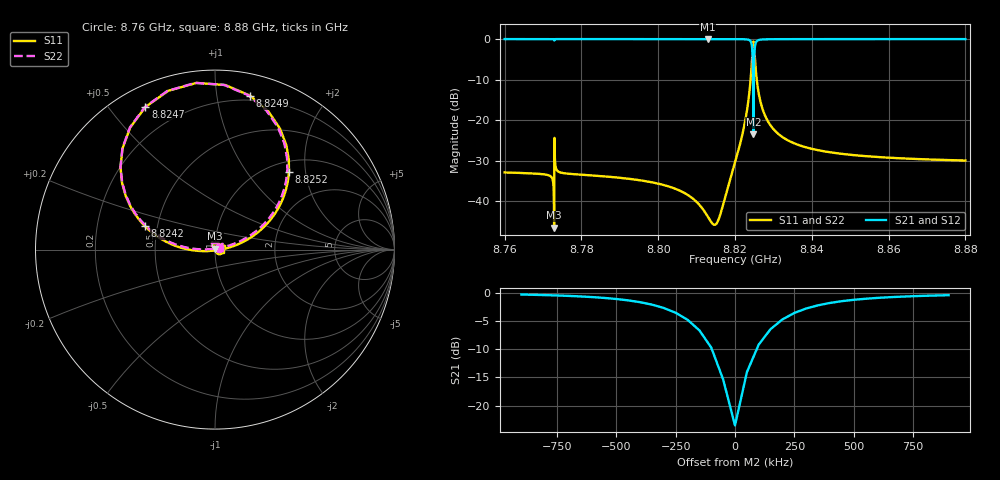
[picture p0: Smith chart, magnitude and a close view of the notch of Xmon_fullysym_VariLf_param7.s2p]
! Sonnet Data File
! From: emgraph Version : 16.52
! From Project: 171117_Xmon_fullysym
! Data is De-embedded
! Data File Written: 11/27/2017 00:27:56
!< HDATE 11/26/2017 21:47:59
!< MDATE 11/26/2017 21:47:59
!< PARAMS
!< Lj = 11.0
!< Gap = 1.0
!< Pwid = 2000.0
!< Airgap = 6.0
!< Width = 10.0
!< Lj1 = 10.74
!< END PARAMS
# GHZ S MA R 50.90000
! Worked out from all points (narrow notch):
!   2401 points, 8.76 GHz to 8.88 GHz, reference 50.9 ohm
!   highest |S21| = 0.00 dB at 8.8129 GHz (marker M1); lowest = -23.5 dB at 8.8248 GHz (marker M2)
!   notch at M2: 23.5 dB deep, 156 kHz wide at half that depth
!   lowest |S11| = -46.6 dB at 8.7729 GHz (marker M3), VSWR 1.01, Z = 51 + j0.47 ohm
!   |S11| at or under -10 dB: start of sweep to 8.8241 GHz; 8.8257 GHz to end of sweep
!   |S22| runs from -45.7 to -0.6 dB; largest |S21 - S12| = 0
!   S11 on the Smith chart (normalised r, x): 8.76 GHz: 1.05, -0.00; 8.8242 GHz: 0.42, +0.13; 8.8247 GHz: 0.09, +0.62; 8.8249 GHz: 0.16, +1.24; 8.8252 GHz: 1.20, +1.63; 8.88 GHz: 1.07, -0.00
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8.76  0.02253 -3.9  0.9997 -80.7  0.9997 -80.7  0.02253 22.5
!< P1 F=8.76 Eeff=(6.44841381 -2.9796e-5) Z0=(50.9085048 1.17026e-4) R=0.0 C=0.0
!< P2 F=8.76 Eeff=(6.44841381 -2.9796e-5) Z0=(50.9085048 1.17026e-4) R=0.0 C=0.0
8.7723  0.01942 -4.9  0.9997 -81.0  0.9997 -81.0  0.01942 23.3
8.7729  0.004684 79.4  0.9943 -82.0  0.9943 -82.0  0.006745 103.8
8.77355  0.02426 -4.0  0.9996 -80.7  0.9996 -80.7  0.02427 23.0
8.78  0.02111 -5.2  0.9998 -81.0  0.9998 -81.0  0.02112 23.4
8.8  0.01638 -9.8  0.9999 -81.4  0.9999 -81.4  0.01638 27.1
8.80795  0.01167 -18.0  0.9999 -81.8  0.9999 -81.8  0.01168 34.6
8.8129  0.006422 -44.9  0.9999 -82.2  0.9999 -82.2  0.006481 60.9
8.8155  0.005588 -107.7  0.9999 -82.6  0.9999 -82.6  0.005696 122.0
8.82  0.02962 -164.9  0.9993 -84.2  0.9993 -84.2  0.02969 175.7
8.8235  0.1759 177.8  0.9815 -92.7  0.9815 -92.7  0.1761 175.0
8.82425  0.4134 161.4  0.8958 -106.9  0.8958 -106.9  0.4137 160.6
8.8247  0.8843 116.0  0.3262 -142.8  0.3262 -142.8  0.8849 116.3
8.8248  0.9345 96.3  0.06698 -69.7  0.06698 -69.7  0.9352 96.8
8.8249  0.8794 77.1  0.3471 -22.5  0.3471 -22.5  0.88 77.8
8.82515  0.5986 46.5  0.7712 -45.8  0.7712 -45.8  0.599 47.7
8.8255  0.3715 29.7  0.9193 -60.7  0.9193 -60.7  0.3717 31.6
8.8261  0.2239 19.6  0.9718 -69.6  0.9718 -69.6  0.224 22.6
8.82895  0.09015 9.3  0.9956 -77.4  0.9956 -77.4  0.09018 16.3
8.84  0.04409 2.9  0.999 -80.2  0.999 -80.2  0.0441 16.8
8.86  0.03428 0.2  0.9994 -80.9  0.9994 -80.9  0.03428 18.0
8.88  0.03161 -0.9  0.9995 -81.3  0.9995 -81.3  0.03161 18.4
